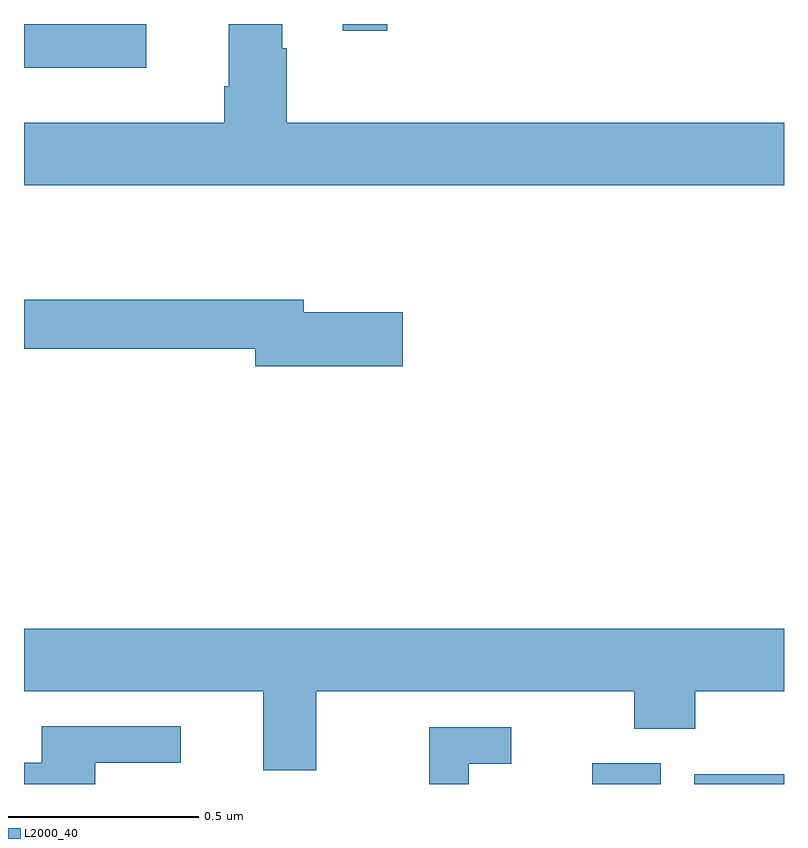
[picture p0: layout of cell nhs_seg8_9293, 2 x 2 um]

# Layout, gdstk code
import gdstk
lib = gdstk.Library(unit=1e-6, precision=1e-09)
def R(c, l, rs):  # rectangles x0, y0, x1, y1
    for r in rs: c.add(gdstk.rectangle(r[:2], r[2:], *l))
def P(c, l, *ps):  # polygons
    for p in ps: c.add(gdstk.Polygon(p, *l))
L2000_40 = (2000, 40)

nhs_seg8_9293 = lib.new_cell('nhs_seg8_9293')
R(nhs_seg8_9293, L2000_40, [(235.496,1138.9,235.675,1138.954), (235.764,1138.9,236,1138.926), (234,1140.785,234.322,1140.9), (234.839,1140.882,234.956,1140.9)])
P(nhs_seg8_9293, L2000_40, [(236,1140.64),(234.692,1140.64),(234.692,1140.836),(234.679,1140.836),(234.679,1140.9),(234.539,1140.9),(234.539,1140.736),(234.527,1140.736),(234.527,1140.64),(234,1140.64),(234,1140.476),(236,1140.476)],
  [(234.997,1140.141),(234.736,1140.141),(234.736,1140.175),(234,1140.175),(234,1140.046),(234.608,1140.046),(234.608,1139.999),(234.997,1139.999)],
  [(234.769,1139.144),(235.606,1139.144),(235.606,1139.045),(235.766,1139.045),(235.766,1139.144),(236,1139.144),(236,1139.308),(234,1139.308),(234,1139.144),(234.629,1139.144),(234.629,1138.936),(234.769,1138.936)],
  [(234.187,1138.956),(234.412,1138.956),(234.412,1139.052),(234.047,1139.052),(234.047,1138.956),(234,1138.956),(234,1138.9),(234.187,1138.9)],
  [(235.171,1138.953),(235.282,1138.953),(235.282,1139.049),(235.067,1139.049),(235.067,1138.9),(235.171,1138.9)])

lib.write_gds('nhs_seg8_9293.gds')
